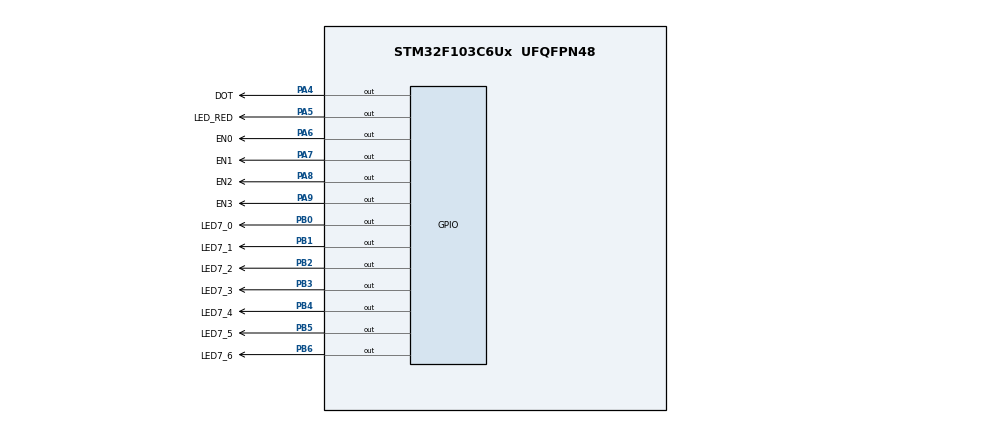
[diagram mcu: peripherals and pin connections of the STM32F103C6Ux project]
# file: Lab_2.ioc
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Mcu.Family=STM32F1
Mcu.Name=STM32F103C6Ux
Mcu.Package=UFQFPN48
NVIC.PriorityGroup=NVIC_PRIORITYGROUP_4
NVIC.TIM2_IRQn=true\:0\:0\:false\:false\:true\:true\:true
PA4.GPIO_Label=DOT
PA4.Signal=GPIO_Output
PA5.GPIO_Label=LED_RED
PA5.Signal=GPIO_Output
PA6.GPIO_Label=EN0
PA6.Signal=GPIO_Output
PA7.GPIO_Label=EN1
PA7.Signal=GPIO_Output
PA8.GPIO_Label=EN2
PA8.Signal=GPIO_Output
PA9.GPIO_Label=EN3
PA9.Signal=GPIO_Output
PB0.GPIO_Label=LED7_0
PB0.Signal=GPIO_Output
PB1.GPIO_Label=LED7_1
PB1.Signal=GPIO_Output
PB2.GPIO_Label=LED7_2
PB2.Signal=GPIO_Output
PB3.GPIO_Label=LED7_3
PB3.Signal=GPIO_Output
PB4.GPIO_Label=LED7_4
PB4.Signal=GPIO_Output
PB5.GPIO_Label=LED7_5
PB5.Signal=GPIO_Output
PB6.GPIO_Label=LED7_6
PB6.Signal=GPIO_Output
ProjectManager.HeapSize=0x200
ProjectManager.StackSize=0x400
ProjectManager.TargetToolchain=STM32CubeIDE
RCC.APB1Freq_Value=8000000
RCC.APB2Freq_Value=8000000
TIM2.Period=9
TIM2.Prescaler=7999
VP_SYS_VS_ND.Mode=No_Debug
VP_TIM2_VS_ClockSourceINT.Mode=Internal
board=custom

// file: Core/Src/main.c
/* USER CODE BEGIN Header */
/**
  ******************************************************************************
  * @file           : main.c
  * @brief          : Main program body
  ******************************************************************************
  * @attention
  *
  * <h2><center>&copy; Copyright (c) 2023 STMicroelectronics.
  * All rights reserved.</center></h2>
  *
  * This software component is licensed by ST under BSD 3-Clause license,
  * the "License"; You may not use this file except in compliance with the
  * License. You may obtain a copy of the License at:
  *                        opensource.org/licenses/BSD-3-Clause
  *
  ******************************************************************************
  */
/* USER CODE END Header */
#include "main.h"

TIM_HandleTypeDef htim2;

void SystemClock_Config(void);
static void MX_GPIO_Init(void);
static void MX_TIM2_Init(void);

/* USER CODE BEGIN 0 */
int timer0_counter = 0;
int timer0_flag = 0;
int TIMER_CYCLE = 10;
void setTimer0 ( int duration ){
  timer0_counter = duration / TIMER_CYCLE ;
  timer0_flag = 0;
}

void timer_run (){
 if( timer0_counter > 0){
	 timer0_counter --;
	 if( timer0_counter == 0) timer0_flag = 1;
 }
}

int hour = 15, minute = 8, second = 50;
const int MAX_LED = 4;
int index_led = 0;
int led_buffer [4] = {1, 2, 3, 4};
void updateClockBuffer() {
	led_buffer[0] = hour / 10;
	led_buffer[1] = hour % 10;
	led_buffer[2] = minute / 10;
	led_buffer[3] = minute % 10;
}

void display7SEG ( int num ){
switch (num){
	case 0:
		HAL_GPIO_WritePin (GPIOB , LED7_0_Pin | LED7_1_Pin | LED7_2_Pin | LED7_3_Pin | LED7_4_Pin | LED7_5_Pin , 0);
		HAL_GPIO_WritePin (GPIOB , LED7_6_Pin , 1);
		break ;
	case 1:
		HAL_GPIO_WritePin (GPIOB , LED7_1_Pin | LED7_2_Pin , 0);
		HAL_GPIO_WritePin (GPIOB , LED7_0_Pin | LED7_3_Pin | LED7_4_Pin | LED7_5_Pin | LED7_6_Pin , 1);
		break ;
	case 2:
		HAL_GPIO_WritePin (GPIOB , LED7_0_Pin | LED7_1_Pin | LED7_3_Pin | LED7_4_Pin | LED7_6_Pin , 0);
		HAL_GPIO_WritePin (GPIOB , LED7_2_Pin | LED7_5_Pin , 1);
		break ;
	case 3:
		HAL_GPIO_WritePin (GPIOB , LED7_0_Pin | LED7_1_Pin | LED7_2_Pin | LED7_3_Pin | LED7_6_Pin , 0);
		HAL_GPIO_WritePin (GPIOB , LED7_4_Pin | LED7_5_Pin , 1);
		break ;
	case 4:
		HAL_GPIO_WritePin (GPIOB , LED7_1_Pin | LED7_2_Pin | LED7_5_Pin | LED7_6_Pin , 0);
		HAL_GPIO_WritePin (GPIOB , LED7_0_Pin | LED7_3_Pin | LED7_4_Pin , 1);
		break ;
	case 5:
		HAL_GPIO_WritePin (GPIOB , LED7_0_Pin | LED7_2_Pin | LED7_3_Pin | LED7_5_Pin | LED7_6_Pin , 0);
		HAL_GPIO_WritePin (GPIOB , LED7_1_Pin | LED7_4_Pin , 1);
		break ;
	case 6:
		HAL_GPIO_WritePin (GPIOB , LED7_0_Pin | LED7_2_Pin | LED7_3_Pin | LED7_4_Pin | LED7_5_Pin | LED7_6_Pin , 0);
		HAL_GPIO_WritePin (GPIOB , LED7_1_Pin , 1);
		break ;
	case 7:
		HAL_GPIO_WritePin (GPIOB , LED7_0_Pin | LED7_1_Pin | LED7_2_Pin , 0);
		HAL_GPIO_WritePin (GPIOB , LED7_3_Pin | LED7_4_Pin | LED7_5_Pin | LED7_6_Pin , 1);
		break ;
	case 8:
		HAL_GPIO_WritePin (GPIOB , LED7_0_Pin | LED7_1_Pin | LED7_2_Pin | LED7_3_Pin | LED7_4_Pin | LED7_5_Pin | LED7_6_Pin , 0);
		break ;
	case 9:
		HAL_GPIO_WritePin (GPIOB , LED7_0_Pin | LED7_1_Pin | LED7_2_Pin | LED7_3_Pin | LED7_5_Pin | LED7_6_Pin , 0);
		HAL_GPIO_WritePin (GPIOB , LED7_4_Pin , 1);
		break ;
	}
}

void update7SEG ( int index ){
switch ( index ){
	case 0:
		// Display the first 7 SEG with led_buffer [0]
		HAL_GPIO_WritePin(GPIOA, EN0_Pin, 0);
		HAL_GPIO_WritePin(GPIOA, EN1_Pin | EN2_Pin | EN3_Pin, 1);
		display7SEG(led_buffer[0]);
		break ;
	case 1:
		// Display the second 7 SEG with led_buffer [1]
		HAL_GPIO_WritePin(GPIOA, EN1_Pin, 0);
		HAL_GPIO_WritePin(GPIOA, EN0_Pin | EN2_Pin | EN3_Pin, 1);
		display7SEG(led_buffer[1]);
		break ;
	case 2:
		// Display the third 7 SEG with led_buffer [2]
		HAL_GPIO_WritePin(GPIOA, EN2_Pin, 0);
		HAL_GPIO_WritePin(GPIOA, EN0_Pin | EN1_Pin | EN3_Pin, 1);
		display7SEG(led_buffer[2]);
		break ;
	case 3:
		// Display the forth 7 SEG with led_buffer [3]
		HAL_GPIO_WritePin(GPIOA, EN3_Pin, 0);
		HAL_GPIO_WritePin(GPIOA, EN0_Pin | EN1_Pin | EN2_Pin, 1);
		display7SEG(led_buffer[3]);
		break ;
	default :
		break ;
	}
}
/* USER CODE END 0 */

int main(void)
{

  /* MCU Configuration--------------------------------------------------------*/

  /* Reset of all peripherals, Initializes the Flash interface and the Systick. */
  HAL_Init();

  /* Configure the system clock */
  SystemClock_Config();

  /* Initialize all configured peripherals */
  MX_GPIO_Init();
  MX_TIM2_Init();
  /* USER CODE BEGIN 2 */
  HAL_TIM_Base_Start_IT (& htim2 );
  /* USER CODE END 2 */

  /* Infinite loop */
  setTimer0 (10);
  while (1)
  {
	if( timer0_flag == 1){
		HAL_GPIO_TogglePin ( LED_RED_GPIO_Port , LED_RED_Pin );
		HAL_GPIO_TogglePin(DOT_GPIO_Port, DOT_Pin);
		setTimer0 (1000) ;
		second ++;
		if ( second >= 60) {
			second = 0;
			minute ++;
		}
		if( minute >= 60) {
			minute = 0;
			hour ++;
		}
		if( hour >=24){
			hour = 0;
		}
		updateClockBuffer ();
	}
  }
}

void SystemClock_Config(void)
{
  RCC_OscInitTypeDef RCC_OscInitStruct = {0};
  RCC_ClkInitTypeDef RCC_ClkInitStruct = {0};

  /** Initializes the RCC Oscillators according to the specified parameters
  * in the RCC_OscInitTypeDef structure.
  */
  RCC_OscInitStruct.OscillatorType = RCC_OSCILLATORTYPE_HSI;
  RCC_OscInitStruct.HSIState = RCC_HSI_ON;
  RCC_OscInitStruct.HSICalibrationValue = RCC_HSICALIBRATION_DEFAULT;
  RCC_OscInitStruct.PLL.PLLState = RCC_PLL_NONE;
  if (HAL_RCC_OscConfig(&RCC_OscInitStruct) != HAL_OK)
  {
    Error_Handler();
  }
  /** Initializes the CPU, AHB and APB buses clocks
  */
  RCC_ClkInitStruct.ClockType = RCC_CLOCKTYPE_HCLK|RCC_CLOCKTYPE_SYSCLK
                              |RCC_CLOCKTYPE_PCLK1|RCC_CLOCKTYPE_PCLK2;
  RCC_ClkInitStruct.SYSCLKSource = RCC_SYSCLKSOURCE_HSI;
  RCC_ClkInitStruct.AHBCLKDivider = RCC_SYSCLK_DIV1;
  RCC_ClkInitStruct.APB1CLKDivider = RCC_HCLK_DIV1;
  RCC_ClkInitStruct.APB2CLKDivider = RCC_HCLK_DIV1;

  if (HAL_RCC_ClockConfig(&RCC_ClkInitStruct, FLASH_LATENCY_0) != HAL_OK)
  {
    Error_Handler();
  }
}

static void MX_TIM2_Init(void)
{

  TIM_ClockConfigTypeDef sClockSourceConfig = {0};
  TIM_MasterConfigTypeDef sMasterConfig = {0};

  htim2.Instance = TIM2;
  htim2.Init.Prescaler = 7999;
  htim2.Init.CounterMode = TIM_COUNTERMODE_UP;
  htim2.Init.Period = 9;
  htim2.Init.ClockDivision = TIM_CLOCKDIVISION_DIV1;
  htim2.Init.AutoReloadPreload = TIM_AUTORELOAD_PRELOAD_DISABLE;
  if (HAL_TIM_Base_Init(&htim2) != HAL_OK)
  {
    Error_Handler();
  }
  sClockSourceConfig.ClockSource = TIM_CLOCKSOURCE_INTERNAL;
  if (HAL_TIM_ConfigClockSource(&htim2, &sClockSourceConfig) != HAL_OK)
  {
    Error_Handler();
  }
  sMasterConfig.MasterOutputTrigger = TIM_TRGO_RESET;
  sMasterConfig.MasterSlaveMode = TIM_MASTERSLAVEMODE_DISABLE;
  if (HAL_TIMEx_MasterConfigSynchronization(&htim2, &sMasterConfig) != HAL_OK)
  {
    Error_Handler();
  }

}

static void MX_GPIO_Init(void)
{
  GPIO_InitTypeDef GPIO_InitStruct = {0};

  /* GPIO Ports Clock Enable */
  __HAL_RCC_GPIOA_CLK_ENABLE();
  __HAL_RCC_GPIOB_CLK_ENABLE();

  /*Configure GPIO pin Output Level */
  HAL_GPIO_WritePin(GPIOA, DOT_Pin|LED_RED_Pin|EN0_Pin|EN1_Pin
                          |EN2_Pin|EN3_Pin, GPIO_PIN_RESET);

  /*Configure GPIO pin Output Level */
  HAL_GPIO_WritePin(GPIOB, LED7_0_Pin|LED7_1_Pin|LED7_2_Pin|LED7_3_Pin
                          |LED7_4_Pin|LED7_5_Pin|LED7_6_Pin, GPIO_PIN_RESET);

  /*Configure GPIO pins : DOT_Pin LED_RED_Pin EN0_Pin EN1_Pin
                           EN2_Pin EN3_Pin */
  GPIO_InitStruct.Pin = DOT_Pin|LED_RED_Pin|EN0_Pin|EN1_Pin
                          |EN2_Pin|EN3_Pin;
  GPIO_InitStruct.Mode = GPIO_MODE_OUTPUT_PP;
  GPIO_InitStruct.Pull = GPIO_NOPULL;
  GPIO_InitStruct.Speed = GPIO_SPEED_FREQ_LOW;
  HAL_GPIO_Init(GPIOA, &GPIO_InitStruct);

  /*Configure GPIO pins : LED7_0_Pin LED7_1_Pin LED7_2_Pin LED7_3_Pin
                           LED7_4_Pin LED7_5_Pin LED7_6_Pin */
  GPIO_InitStruct.Pin = LED7_0_Pin|LED7_1_Pin|LED7_2_Pin|LED7_3_Pin
                          |LED7_4_Pin|LED7_5_Pin|LED7_6_Pin;
  GPIO_InitStruct.Mode = GPIO_MODE_OUTPUT_PP;
  GPIO_InitStruct.Pull = GPIO_NOPULL;
  GPIO_InitStruct.Speed = GPIO_SPEED_FREQ_LOW;
  HAL_GPIO_Init(GPIOB, &GPIO_InitStruct);

}

/* USER CODE BEGIN 4 */
void HAL_TIM_PeriodElapsedCallback ( TIM_HandleTypeDef * htim )
	{
	timer_run ();
}
/* USER CODE END 4 */

void Error_Handler(void)
{
  __disable_irq();
  while (1)
  {
  }
}

/************************ (C) COPYRIGHT STMicroelectronics *****END OF FILE****/
